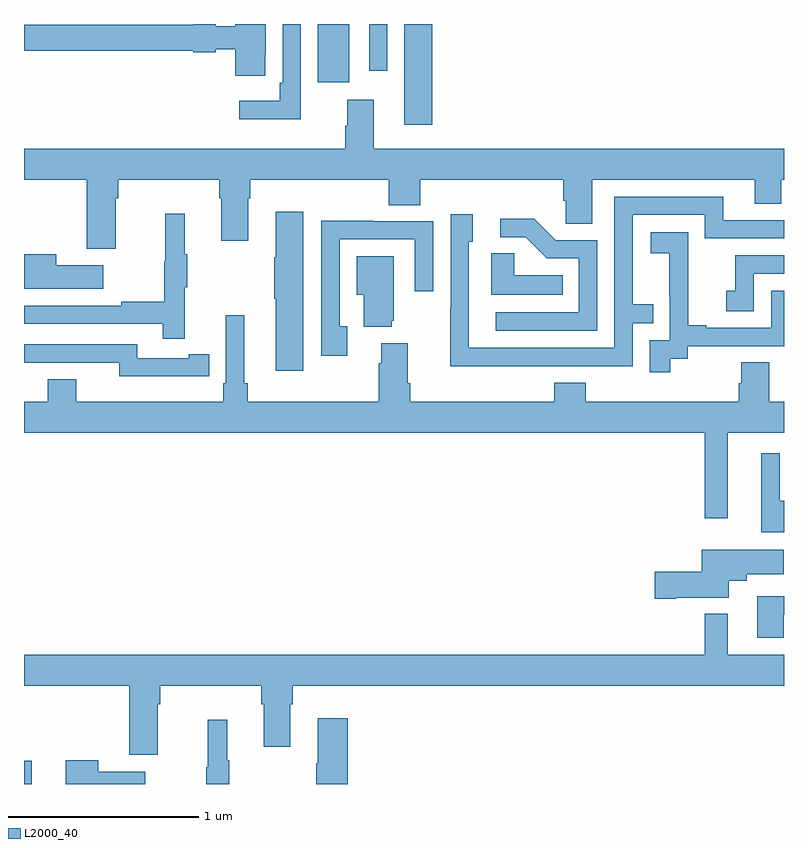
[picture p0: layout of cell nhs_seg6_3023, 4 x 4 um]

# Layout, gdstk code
import gdstk
lib = gdstk.Library(unit=1e-6, precision=1e-09)
def R(c, l, rs):  # rectangles x0, y0, x1, y1
    for r in rs: c.add(gdstk.rectangle(r[:2], r[2:], *l))
def P(c, l, *ps):  # polygons
    for p in ps: c.add(gdstk.Polygon(p, *l))
L2000_40 = (2000, 40)

nhs_seg6_3023 = lib.new_cell('nhs_seg6_3023')
R(nhs_seg6_3023, L2000_40, [(289,933.5,289.04,933.622), (291.002,936.969,291.149,937.5), (290.546,937.194,290.713,937.5), (290.817,937.254,290.913,937.5)])
P(nhs_seg6_3023, L2000_40, [(290.457,937.5),(290.361,937.5),(290.361,937.192),(290.345,937.192),(290.345,937.096),(290.133,937.096),(290.133,936.998),(290.457,936.998)],
  [(290.271,937.339),(290.272,937.339),(290.272,937.5),(290.111,937.5),(290.111,937.489),(290.009,937.489),(290.009,937.5),(289.89,937.5),(289.89,937.496),(289,937.496),(289,937.36),(289.89,937.36),(289.89,937.352),(290.009,937.352),(290.009,937.367),(290.111,937.367),(290.111,937.227),(290.271,937.227)],
  [(289.483,936.584),(289.496,936.584),(289.496,936.68),(290.027,936.68),(290.027,936.584),(290.039,936.584),(290.039,936.36),(290.179,936.36),(290.179,936.584),(290.192,936.584),(290.192,936.68),(290.921,936.68),(290.921,936.547),(291.086,936.547),(291.086,936.68),(291.839,936.68),(291.839,936.571),(291.852,936.571),(291.852,936.448),(291.991,936.448),(291.991,936.68),(292.847,936.68),(292.847,936.553),(292.986,936.553),(292.986,936.68),(293,936.68),(293,936.844),(290.842,936.844),(290.842,937.102),(290.702,937.102),(290.702,936.965),(290.69,936.965),(290.69,936.844),(289,936.844),(289,936.68),(289.331,936.68),(289.331,936.318),(289.483,936.318)],
  [(291.707,935.7),(292.203,935.7),(292.203,935.925),(292.313,935.925),(292.313,936.026),(292.203,936.026),(292.203,936.495),(292.584,936.495),(292.584,936.372),(293,936.372),(293,936.468),(292.681,936.468),(292.681,936.591),(292.107,936.591),(292.107,935.796),(291.342,935.796),(291.342,936.354),(291.361,936.354),(291.361,936.499),(291.246,936.499),(291.246,936.005),(291.244,936.005),(291.244,935.699),(291.707,935.699)],
  [(290.47,936.511),(290.324,936.511),(290.324,936.272),(290.317,936.272),(290.317,936.055),(290.324,936.055),(290.324,935.676),(290.47,935.676)],
  [(289.847,936.115),(289.858,936.115),(289.858,936.289),(289.847,936.289),(289.847,936.502),(289.744,936.502),(289.744,936.252),(289.737,936.252),(289.737,936.038),(289.513,936.038),(289.513,936.018),(289,936.018),(289,935.922),(289.729,935.922),(289.729,935.844),(289.847,935.844)],
  [(292.017,936.363),(291.798,936.363),(291.685,936.476),(291.507,936.476),(291.507,936.378),(291.641,936.378),(291.752,936.267),(291.921,936.267),(291.921,935.982),(291.483,935.982),(291.483,935.886),(292.017,935.886)],
  [(290.701,935.91),(290.661,935.91),(290.661,936.366),(291.057,936.366),(291.057,936.093),(291.153,936.093),(291.153,936.462),(290.837,936.462),(290.837,936.464),(290.565,936.464),(290.565,935.754),(290.701,935.754)],
  [(292.402,935.737),(292.494,935.737),(292.494,935.805),(293,935.805),(293,936.096),(292.932,936.096),(292.932,935.901),(292.591,935.901),(292.591,935.914),(292.496,935.914),(292.496,936.197),(292.497,936.197),(292.497,936.403),(292.299,936.403),(292.299,936.293),(292.397,936.293),(292.397,936.065),(292.398,936.065),(292.398,935.835),(292.293,935.835),(292.293,935.667),(292.402,935.667)],
  [(291.836,936.178),(291.579,936.178),(291.579,936.293),(291.458,936.293),(291.458,936.074),(291.836,936.074)],
  [(289.417,936.229),(289.169,936.229),(289.169,936.289),(289,936.289),(289,936.107),(289.417,936.107)],
  [(292.842,936.186),(293,936.186),(293,936.282),(292.744,936.282),(292.744,936.097),(292.695,936.097),(292.695,935.988),(292.842,935.988)],
  [(290.936,935.937),(290.947,935.937),(290.947,936.277),(290.75,936.277),(290.75,936.074),(290.789,936.074),(290.789,935.906),(290.936,935.906)],
  [(292.705,935.348),(293,935.348),(293,935.512),(292.923,935.512),(292.923,935.72),(292.775,935.72),(292.775,935.61),(292.763,935.61),(292.763,935.512),(291.956,935.512),(291.956,935.611),(291.791,935.611),(291.791,935.512),(291.032,935.512),(291.032,935.608),(291.019,935.608),(291.019,935.821),(290.879,935.821),(290.879,935.714),(290.867,935.714),(290.867,935.512),(290.177,935.512),(290.177,935.608),(290.158,935.608),(290.158,935.968),(290.061,935.968),(290.061,935.608),(290.048,935.608),(290.048,935.512),(289.276,935.512),(289.276,935.629),(289.124,935.629),(289.124,935.512),(289,935.512),(289,935.348),(292.584,935.348),(292.584,934.899),(292.705,934.899)],
  [(289.868,935.646),(289.976,935.646),(289.976,935.762),(289.868,935.762),(289.868,935.742),(289.596,935.742),(289.596,935.814),(289,935.814),(289,935.717),(289.04,935.717),(289.04,935.718),(289.5,935.718),(289.5,935.645),(289.868,935.645)],
  [(293,934.99),(292.978,934.99),(292.978,935.242),(292.88,935.242),(292.88,934.826),(293,934.826)],
  [(292.432,934.481),(292.708,934.481),(292.708,934.571),(292.804,934.571),(292.804,934.603),(292.999,934.603),(292.999,934.732),(292.568,934.732),(292.568,934.616),(292.32,934.616),(292.32,934.474),(292.432,934.474)],
  [(292.999,934.391),(293,934.391),(293,934.489),(292.859,934.489),(292.859,934.269),(292.999,934.269)],
  [(289.705,933.92),(289.718,933.92),(289.718,934.016),(290.249,934.016),(290.249,933.92),(290.261,933.92),(290.261,933.696),(290.401,933.696),(290.401,933.92),(290.414,933.92),(290.414,934.016),(293,934.016),(293,934.18),(292.705,934.18),(292.705,934.396),(292.584,934.396),(292.584,934.18),(289,934.18),(289,934.016),(289.553,934.016),(289.553,933.654),(289.705,933.654)],
  [(290.705,933.847),(290.546,933.847),(290.546,933.608),(290.539,933.608),(290.539,933.5),(290.705,933.5)],
  [(290.08,933.625),(290.069,933.625),(290.069,933.838),(289.966,933.838),(289.966,933.588),(289.959,933.588),(289.959,933.5),(290.08,933.5)],
  [(289.639,933.565),(289.391,933.565),(289.391,933.625),(289.22,933.625),(289.22,933.5),(289.639,933.5)])

lib.write_gds('nhs_seg6_3023.gds')
